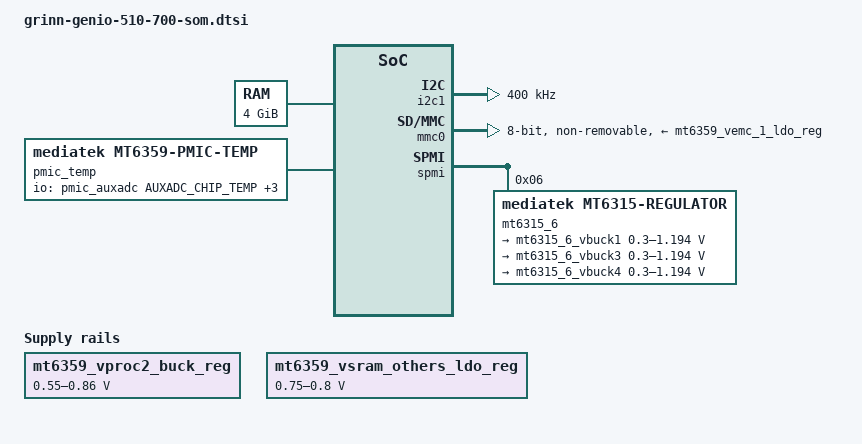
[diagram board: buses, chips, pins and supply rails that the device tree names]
// SPDX-License-Identifier: (GPL-2.0 OR MIT)
/*
 * Copyright (C) 2023 MediaTek Inc.
 * Copyright (C) 2025-2026 Grinn sp. z o.o.
 */

#include "mt6359.dtsi"
#include <dt-bindings/spmi/spmi.h>

/ {
	memory@40000000 {
		device_type = "memory";
		reg = <0 0x40000000 1 0x00000000>;
	};

	firmware {
		optee {
			compatible = "linaro,optee-tz";
			method = "smc";
		};
	};

	reserved-memory {
		#address-cells = <2>;
		#size-cells = <2>;
		ranges;

		/*
		 * 12 MiB reserved for OP-TEE (BL32)
		 * +-----------------------+ 0x43e0_0000
		 * |      SHMEM 2MiB       |
		 * +-----------------------+ 0x43c0_0000
		 * |        | TA_RAM  8MiB |
		 * + TZDRAM +--------------+ 0x4340_0000
		 * |        | TEE_RAM 2MiB |
		 * +-----------------------+ 0x4320_0000
		 */
		optee_reserved: optee@43200000 {
			no-map;
			reg = <0 0x43200000 0 0x00c00000>;
		};

		scp_mem: memory@50000000 {
			compatible = "shared-dma-pool";
			reg = <0 0x50000000 0 0x2900000>;
			no-map;
		};

		/* 2 MiB reserved for ARM Trusted Firmware (BL31) */
		bl31_secmon_reserved: secmon@54600000 {
			no-map;
			reg = <0 0x54600000 0x0 0x200000>;
		};

		apu_mem: memory@55000000 {
			compatible = "shared-dma-pool";
			reg = <0 0x55000000 0 0x1400000>; /* 20 MB */
		};

		vpu_mem: memory@57000000 {
			compatible = "shared-dma-pool";
			reg = <0 0x57000000 0 0x1400000>; /* 20 MB */
		};

		/*
		 * 24 MiB reserved for Audio AFE and ADSP
		 * +-----------------------+ 0x6180_0000
		 * |  AFE DMA MEM     8MiB |
		 * +-----------------------+ 0x6100_0000
		 * |  ADSP DMA MEM    1MiB |
		 * +-----------------------+ 0x60f0_0000
		 * |  ADSP MEM       15MiB |
		 * +-----------------------+ 0x6000_0000
		 */

		adsp_mem_reserved: adsp-mem-region {
			compatible = "shared-dma-pool";
			reg = <0 0x60000000 0 0xf00000>;
			no-map;
		};

		adsp_dma_mem_reserved: snd-dma-mem-region {
			compatible = "shared-dma-pool";
			reg = <0 0x60f00000 0 0x100000>;
			no-map;
		};

		afe_dma_mem_reserved: adsp-dma-mem-region {
			compatible = "shared-dma-pool";
			reg = <0 0x61000000 0 0x800000>;
			no-map;
		};
	};

	pmic_temp: pmic-temp {
		#thermal-sensor-cells = <1>;
		nvmem-cells = <&thermal_efuse_data1>;
		nvmem-cell-names = "e_data1";
		compatible = "mediatek,mt6359-pmic-temp";
		io-channels = <&pmic_auxadc AUXADC_CHIP_TEMP>,
			      <&pmic_auxadc AUXADC_VCORE_TEMP>,
			      <&pmic_auxadc AUXADC_VPROC_TEMP>,
			      <&pmic_auxadc AUXADC_VGPU_TEMP>;
		io-channel-names = "pmic_chip_temp",
				   "pmic_buck1_temp",
				   "pmic_buck2_temp",
				   "pmic_buck3_temp";
	};
};

&thermal_zones {
	pmic-temp {
		polling-delay = <1000>; /* milliseconds */
		polling-delay-passive = <1000>; /* milliseconds */
		thermal-sensors = <&pmic_temp 0>;

		trips {
			pmic_temp_crit: pmic-temp-crit@0 {
				temperature = <130000>;
				hysteresis = <2000>;
				type = "critical";
			};
		};
	};

	pmic-vcore {
		polling-delay = <0>; /* milliseconds */
		polling-delay-passive = <0>; /* milliseconds */
		thermal-sensors = <&pmic_temp 1>;

		trips {
			pmic_vcore_crit: pmic-vcore-crit {
				temperature = <130000>;
				hysteresis = <2000>;
				type = "critical";
			};
		};
	};

	pmic-vproc {
		polling-delay = <0>; /* milliseconds */
		polling-delay-passive = <0>; /* milliseconds */
		thermal-sensors = <&pmic_temp 2>;

		trips {
			pmic_vproc_crit: pmic-vproc-crit {
				temperature = <130000>;
				hysteresis = <2000>;
				type = "critical";
			};
		};
	};

	pmic-vgpu {
		polling-delay = <0>; /* milliseconds */
		polling-delay-passive = <0>; /* milliseconds */
		thermal-sensors = <&pmic_temp 3>;

		trips {
			pmic_vgpu_crit: pmic-vgpu-crit {
				temperature = <130000>;
				hysteresis = <2000>;
				type = "critical";
			};
		};
	};
};

&i2c1 {
	pinctrl-names = "default";
	pinctrl-0 = <&i2c1_pins>;
	clock-frequency = <400000>;
	status = "okay";
};

&mfg0 {
	domain-supply = <&mt6359_vproc2_buck_reg>;
};

&mmc0 {
	status = "okay";
	pinctrl-names = "default", "state_uhs";
	pinctrl-0 = <&mmc0_default_pins>;
	pinctrl-1 = <&mmc0_uhs_pins>;
	bus-width = <8>;
	max-frequency = <200000000>;
	cap-mmc-highspeed;
	mmc-hs200-1_8v;
	mmc-hs400-1_8v;
	supports-cqe;
	cap-mmc-hw-reset;
	no-sdio;
	no-sd;
	hs400-ds-delay = <0x1481b>;
	vmmc-supply = <&mt6359_vemc_1_ldo_reg>;
	vqmmc-supply = <&mt6359_vufs_ldo_reg>;
	non-removable;
};

&mt6359_vbbck_ldo_reg {
	regulator-always-on;
};

&mt6359_vufs_ldo_reg {
	regulator-always-on;
};

&mt6359_vcore_buck_reg {
	regulator-always-on;
};

&mt6359_vgpu11_buck_reg {
	regulator-always-on;
};

&mt6359_vproc2_buck_reg {
	/* The name "vgpu" is required by mtk-regulator-coupler */
	regulator-name = "vgpu";
	regulator-min-microvolt = <550000>;
	regulator-max-microvolt = <860000>;
	regulator-coupled-with = <&mt6359_vsram_others_ldo_reg>;
	regulator-coupled-max-spread = <6250>;
};

&mt6359_vpu_buck_reg {
	regulator-always-on;
};

&mt6359_vrf12_ldo_reg {
	regulator-always-on;
};

&mt6359_vsim1_ldo_reg {
	regulator-enable-ramp-delay = <480>;
};

&mt6359_vsram_others_ldo_reg {
	/* The name "vsram_gpu" is required by mtk-regulator-coupler */
	regulator-name = "vsram_gpu";
	regulator-min-microvolt = <750000>;
	regulator-max-microvolt = <800000>;
	regulator-coupled-with = <&mt6359_vproc2_buck_reg>;
	regulator-coupled-max-spread = <6250>;
};

&spmi {
	#address-cells = <2>;
	#size-cells = <0>;

	mt6315_6: mt6315@6 {
		compatible = "mediatek,mt6315-regulator";
		reg = <0x6 SPMI_USID>;

		regulators {
			mt6315_6_vbuck1: vbuck1 {
				regulator-compatible = "vbuck1";
				regulator-name = "Vbcpu";
				regulator-min-microvolt = <300000>;
				regulator-max-microvolt = <1193750>;
				regulator-enable-ramp-delay = <256>;
				regulator-allowed-modes = <0 1 2>;
				regulator-always-on;
				mtk,combined-regulator = <2>;
			};

			mt6315_6_vbuck3: vbuck3 {
				regulator-compatible = "vbuck3";
				regulator-name = "Vdd2";
				regulator-min-microvolt = <300000>;
				regulator-max-microvolt = <1193750>;
				regulator-enable-ramp-delay = <256>;
				regulator-allowed-modes = <0 1 2>;
				regulator-always-on;
			};

			mt6315_6_vbuck4: vbuck4 {
				regulator-compatible = "vbuck4";
				regulator-name = "Vddq";
				regulator-min-microvolt = <300000>;
				regulator-max-microvolt = <1193750>;
				regulator-enable-ramp-delay = <256>;
				regulator-allowed-modes = <0 1 2>;
				regulator-always-on;
			};
		};
	};
};

&pio {
	i2c1_pins: i2c1-pins {
		pins {
			pinmux = <PINMUX_GPIO58__FUNC_B1_SDA1>,
				 <PINMUX_GPIO57__FUNC_B1_SCL1>;
			bias-pull-up = <MTK_PULL_SET_RSEL_011>;
			drive-strength-microamp = <1000>;
		};
	};

	mmc0_default_pins: mmc0-default-pins {
		pins-clk {
			pinmux = <PINMUX_GPIO157__FUNC_B1_MSDC0_CLK>;
			drive-strength = <MTK_DRIVE_6mA>;
			bias-pull-down = <MTK_PUPD_SET_R1R0_10>;
		};

		pins-cmd-dat {
			pinmux = <PINMUX_GPIO161__FUNC_B1_MSDC0_DAT0>,
				 <PINMUX_GPIO160__FUNC_B1_MSDC0_DAT1>,
				 <PINMUX_GPIO159__FUNC_B1_MSDC0_DAT2>,
				 <PINMUX_GPIO158__FUNC_B1_MSDC0_DAT3>,
				 <PINMUX_GPIO154__FUNC_B1_MSDC0_DAT4>,
				 <PINMUX_GPIO153__FUNC_B1_MSDC0_DAT5>,
				 <PINMUX_GPIO152__FUNC_B1_MSDC0_DAT6>,
				 <PINMUX_GPIO151__FUNC_B1_MSDC0_DAT7>,
				 <PINMUX_GPIO156__FUNC_B1_MSDC0_CMD>;
			input-enable;
			drive-strength = <MTK_DRIVE_6mA>;
			bias-pull-up = <MTK_PUPD_SET_R1R0_01>;
		};

		pins-rst {
			pinmux = <PINMUX_GPIO155__FUNC_O_MSDC0_RSTB>;
			drive-strength = <MTK_DRIVE_6mA>;
			bias-pull-up = <MTK_PUPD_SET_R1R0_01>;
		};
	};

	mmc0_uhs_pins: mmc0-uhs-pins {
		pins-clk {
			pinmux = <PINMUX_GPIO157__FUNC_B1_MSDC0_CLK>;
			drive-strength = <MTK_DRIVE_8mA>;
			bias-pull-down = <MTK_PUPD_SET_R1R0_10>;
		};

		pins-cmd-dat {
			pinmux = <PINMUX_GPIO161__FUNC_B1_MSDC0_DAT0>,
				 <PINMUX_GPIO160__FUNC_B1_MSDC0_DAT1>,
				 <PINMUX_GPIO159__FUNC_B1_MSDC0_DAT2>,
				 <PINMUX_GPIO158__FUNC_B1_MSDC0_DAT3>,
				 <PINMUX_GPIO154__FUNC_B1_MSDC0_DAT4>,
				 <PINMUX_GPIO153__FUNC_B1_MSDC0_DAT5>,
				 <PINMUX_GPIO152__FUNC_B1_MSDC0_DAT6>,
				 <PINMUX_GPIO151__FUNC_B1_MSDC0_DAT7>,
				 <PINMUX_GPIO156__FUNC_B1_MSDC0_CMD>;
			input-enable;
			drive-strength = <MTK_DRIVE_8mA>;
			bias-pull-up = <MTK_PUPD_SET_R1R0_01>;
		};

		pins-ds {
			pinmux = <PINMUX_GPIO162__FUNC_B0_MSDC0_DSL>;
			drive-strength = <MTK_DRIVE_8mA>;
			bias-pull-down = <MTK_PUPD_SET_R1R0_10>;
		};

		pins-rst {
			pinmux = <PINMUX_GPIO155__FUNC_O_MSDC0_RSTB>;
			drive-strength = <MTK_DRIVE_8mA>;
			bias-pull-up = <MTK_PUPD_SET_R1R0_01>;
		};
	};
};

&mfg1 {
	domain-supply = <&mt6359_vsram_others_ldo_reg>;
};

&ssusb0 {
	vusb33-supply = <&mt6359_vusb_ldo_reg>;
};

&xhci0 {
	vusb33-supply = <&mt6359_vusb_ldo_reg>;
};

&ssusb1 {
	vusb33-supply = <&mt6359_vusb_ldo_reg>;
};

&xhci1 {
	vusb33-supply = <&mt6359_vusb_ldo_reg>;
};

&ssusb2 {
	vusb33-supply = <&mt6359_vusb_ldo_reg>;
};

&xhci2 {
	vusb33-supply = <&mt6359_vusb_ldo_reg>;
};

&cam_vcore {
	domain-supply = <&mt6359_vproc1_buck_reg>;
};

&img_vcore {
	domain-supply = <&mt6359_vproc1_buck_reg>;
};

&gpu {
	mali-supply = <&mt6359_vproc2_buck_reg>;
};

&pmic {
	interrupt-parent = <&pio>;
	interrupts = <222 IRQ_TYPE_LEVEL_HIGH>;
};
